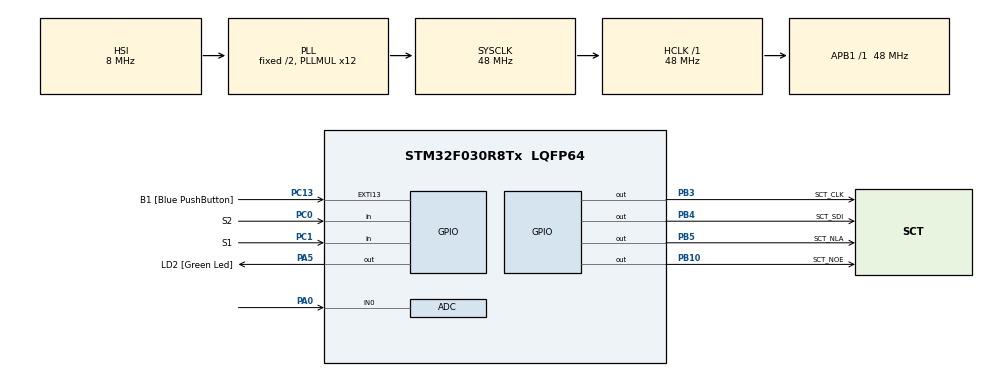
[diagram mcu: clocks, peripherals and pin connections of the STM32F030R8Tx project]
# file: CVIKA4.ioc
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ADC.ContinuousConvMode=ENABLE
ADC.Overrun=ADC_OVR_DATA_OVERWRITTEN
ADC.SamplingTime=ADC_SAMPLETIME_239CYCLES_5
Mcu.Family=STM32F0
Mcu.Name=STM32F030R8Tx
Mcu.Package=LQFP64
NVIC.ADC1_IRQn=true\:0\:0\:false\:false\:true\:true\:true\:true
PA0.Mode=IN0
PA0.Signal=ADC_IN0
PA13.GPIO_Label=TMS
PA13.Signal=SYS_SWDIO
PA14.GPIO_Label=TCK
PA14.Signal=SYS_SWCLK
PA2.GPIO_Label=USART_TX
PA2.GPIO_Mode=GPIO_MODE_AF_PP
PA2.GPIO_PuPd=GPIO_NOPULL
PA2.GPIO_Speed=GPIO_SPEED_FREQ_LOW
PA2.Signal=USART2_TX
PA3.GPIO_Label=USART_RX
PA3.GPIO_Mode=GPIO_MODE_AF_PP
PA3.GPIO_PuPd=GPIO_NOPULL
PA3.GPIO_Speed=GPIO_SPEED_FREQ_LOW
PA3.Signal=USART2_RX
PA5.GPIO_Label=LD2 [Green Led]
PA5.GPIO_Mode=GPIO_MODE_OUTPUT_PP
PA5.GPIO_PuPd=GPIO_NOPULL
PA5.GPIO_Speed=GPIO_SPEED_FREQ_LOW
PA5.Signal=GPIO_Output
PB10.GPIO_Label=SCT_NOE
PB10.Signal=GPIO_Output
PB3.GPIO_Label=SCT_CLK
PB3.Signal=GPIO_Output
PB4.GPIO_Label=SCT_SDI
PB4.Signal=GPIO_Output
PB5.GPIO_Label=SCT_NLA
PB5.Signal=GPIO_Output
PC0.GPIO_Label=S2
PC0.GPIO_PuPd=GPIO_PULLUP
PC0.Signal=GPIO_Input
PC1.GPIO_Label=S1
PC1.GPIO_PuPd=GPIO_PULLUP
PC1.Signal=GPIO_Input
PC13.GPIO_Label=B1 [Blue PushButton]
PC13.GPIO_ModeDefaultEXTI=GPIO_MODE_IT_FALLING
PC13.Signal=GPXTI13
PC14-OSC32_IN.Signal=RCC_OSC32_IN
PC15-OSC32_OUT.Signal=RCC_OSC32_OUT
PF0-OSC_IN.Signal=RCC_OSC_IN
PF1-OSC_OUT.Signal=RCC_OSC_OUT
ProjectManager.HeapSize=0x200
ProjectManager.StackSize=0x400
ProjectManager.TargetToolchain=STM32CubeIDE
RCC.AHBFreq_Value=48000000
RCC.APB1Freq_Value=48000000
RCC.APB1TimFreq_Value=48000000
RCC.HCLKFreq_Value=48000000
RCC.PLLMUL=RCC_PLL_MUL12
RCC.SYSCLKFreq_VALUE=48000000
RCC.SYSCLKSource=RCC_SYSCLKSOURCE_PLLCLK
VP_ADC_TempSens_Input.Mode=IN-TempSens
VP_ADC_Vref_Input.Mode=IN-Vrefint
board=NUCLEO-F030R8

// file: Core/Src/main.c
/* USER CODE BEGIN Header */
/**
 ******************************************************************************
 * @file           : main.c
 * @brief          : Main program body
 ******************************************************************************
 * @attention
 *
 * Copyright (c) 2024 STMicroelectronics.
 * All rights reserved.
 *
 * This software is licensed under terms that can be found in the LICENSE file
 * in the root directory of this software component.
 * If no LICENSE file comes with this software, it is provided AS-IS.
 *
 ******************************************************************************
 */
/* USER CODE END Header */
#include "main.h"

/* USER CODE BEGIN Includes */
#include "sct.h"
/* USER CODE END Includes */

/* USER CODE BEGIN PD */

#define ADC_Q 12
#define TEMP110_CAL_ADDR ((uint16_t*) ((uint32_t) 0x1FFFF7C2))
#define TEMP30_CAL_ADDR ((uint16_t*) ((uint32_t) 0x1FFFF7B8))
#define VREFINT_CAL_ADDR ((uint16_t*) ((uint32_t) 0x1FFFF7BA))

#define BUTTON	40
#define TIME 100

#define SHOW_POT
#define SHOW_VOLT
#define SHOW_TEMP
/* USER CODE END PD */

ADC_HandleTypeDef hadc;

void SystemClock_Config(void);
static void MX_GPIO_Init(void);
static void MX_ADC_Init(void);
/* USER CODE BEGIN PFP */
static volatile uint32_t raw_pot;
static volatile uint32_t value_avg=0;
static uint32_t avg_pot=0;
static uint32_t channel;

static volatile uint32_t raw_temp;
static volatile uint32_t raw_volt;

volatile uint32_t Tick;
static uint32_t off_time;
static uint32_t state = 1;

/* USER CODE END PFP */

/* USER CODE BEGIN 0 */
void HAL_ADC_ConvCpltCallback(ADC_HandleTypeDef* hadc)
{
	if (channel ==0){
		raw_pot = avg_pot >> ADC_Q;
		avg_pot -= raw_pot;
		avg_pot += HAL_ADC_GetValue(hadc);

	}

	else if(channel = 1){
		raw_temp = HAL_ADC_GetValue(hadc);

	}
	else if(channel = 2){
		raw_volt = HAL_ADC_GetValue(hadc);

	}

	if (__HAL_ADC_GET_FLAG(hadc, ADC_FLAG_EOS)) channel = 0;
	else channel++;

}

static void button1(){

	static uint32_t button_tick;

	int32_t temperature = (raw_temp - (int32_t)(*TEMP30_CAL_ADDR));
	temperature = temperature * (int32_t)(110 - 30);
	temperature = temperature / (int32_t)(*TEMP110_CAL_ADDR - *TEMP30_CAL_ADDR);
	temperature = temperature + 30;

	if(Tick > button_tick + TIME){
		button_tick=Tick;
		if (HAL_GPIO_ReadPin(S1_GPIO_Port, S1_Pin)==1) {
			off_time = Tick + TIME;
			sct_value(temperature,0);
			HAL_Delay(1000);
		}

	}
	if (Tick > off_time) {
		sct_value(raw_pot * 500.9/4095,raw_pot*9/4095);

	}
}

static void button2(){

	static uint32_t button_tick;

	uint32_t voltage = 330 * (*VREFINT_CAL_ADDR) / raw_volt;

	if(Tick > button_tick + TIME){
		button_tick=Tick;

		if (HAL_GPIO_ReadPin(S2_GPIO_Port, S2_Pin)==1) {
			off_time = Tick + TIME;
			sct_value(voltage,0);
			HAL_Delay(1000);
		}

	}
	if (Tick > off_time) {
		sct_value(raw_pot * 500.9/4095,raw_pot*9/4095);

	}
}
/* USER CODE END 0 */

int main(void)
{

	/* MCU Configuration--------------------------------------------------------*/

	/* Reset of all peripherals, Initializes the Flash interface and the Systick. */
	HAL_Init();

	/* Configure the system clock */
	SystemClock_Config();

	/* Initialize all configured peripherals */
	MX_GPIO_Init();
	MX_ADC_Init();
	/* USER CODE BEGIN 2 */
	sct_init();
	HAL_ADCEx_Calibration_Start(&hadc);
	HAL_ADC_Start_IT(&hadc);

	/* USER CODE END 2 */

	/* Infinite loop */
	/* USER CODE BEGIN WHILE */
	while (1)
	{

		switch(state) {
			case 1:
				sct_value(raw_pot * 500.9/4095,raw_pot*9/4095);
				HAL_Delay(10000);
			break;

			case 2:

				button1();
				HAL_Delay(10000);
					break;

			case 3:
				button2();
				HAL_Delay(10000);
			break;

		}

		/* USER CODE END WHILE */

	}
}

void SystemClock_Config(void)
{
	RCC_OscInitTypeDef RCC_OscInitStruct = {0};
	RCC_ClkInitTypeDef RCC_ClkInitStruct = {0};

	/** Initializes the RCC Oscillators according to the specified parameters
	 * in the RCC_OscInitTypeDef structure.
	 */
	RCC_OscInitStruct.OscillatorType = RCC_OSCILLATORTYPE_HSI|RCC_OSCILLATORTYPE_HSI14;
	RCC_OscInitStruct.HSIState = RCC_HSI_ON;
	RCC_OscInitStruct.HSI14State = RCC_HSI14_ON;
	RCC_OscInitStruct.HSICalibrationValue = RCC_HSICALIBRATION_DEFAULT;
	RCC_OscInitStruct.HSI14CalibrationValue = 16;
	RCC_OscInitStruct.PLL.PLLState = RCC_PLL_ON;
	RCC_OscInitStruct.PLL.PLLSource = RCC_PLLSOURCE_HSI;
	RCC_OscInitStruct.PLL.PLLMUL = RCC_PLL_MUL12;
	RCC_OscInitStruct.PLL.PREDIV = RCC_PREDIV_DIV1;
	if (HAL_RCC_OscConfig(&RCC_OscInitStruct) != HAL_OK)
	{
		Error_Handler();
	}

	/** Initializes the CPU, AHB and APB buses clocks
	 */
	RCC_ClkInitStruct.ClockType = RCC_CLOCKTYPE_HCLK|RCC_CLOCKTYPE_SYSCLK
			|RCC_CLOCKTYPE_PCLK1;
	RCC_ClkInitStruct.SYSCLKSource = RCC_SYSCLKSOURCE_PLLCLK;
	RCC_ClkInitStruct.AHBCLKDivider = RCC_SYSCLK_DIV1;
	RCC_ClkInitStruct.APB1CLKDivider = RCC_HCLK_DIV1;

	if (HAL_RCC_ClockConfig(&RCC_ClkInitStruct, FLASH_LATENCY_1) != HAL_OK)
	{
		Error_Handler();
	}
}

static void MX_ADC_Init(void)
{

	ADC_ChannelConfTypeDef sConfig = {0};

	/** Configure the global features of the ADC (Clock, Resolution, Data Alignment and number of conversion)
	 */
	hadc.Instance = ADC1;
	hadc.Init.ClockPrescaler = ADC_CLOCK_ASYNC_DIV1;
	hadc.Init.Resolution = ADC_RESOLUTION_12B;
	hadc.Init.DataAlign = ADC_DATAALIGN_RIGHT;
	hadc.Init.ScanConvMode = ADC_SCAN_DIRECTION_FORWARD;
	hadc.Init.EOCSelection = ADC_EOC_SINGLE_CONV;
	hadc.Init.LowPowerAutoWait = DISABLE;
	hadc.Init.LowPowerAutoPowerOff = DISABLE;
	hadc.Init.ContinuousConvMode = ENABLE;
	hadc.Init.DiscontinuousConvMode = DISABLE;
	hadc.Init.ExternalTrigConv = ADC_SOFTWARE_START;
	hadc.Init.ExternalTrigConvEdge = ADC_EXTERNALTRIGCONVEDGE_NONE;
	hadc.Init.DMAContinuousRequests = DISABLE;
	hadc.Init.Overrun = ADC_OVR_DATA_OVERWRITTEN;
	if (HAL_ADC_Init(&hadc) != HAL_OK)
	{
		Error_Handler();
	}

	/** Configure for the selected ADC regular channel to be converted.
	 */
	sConfig.Channel = ADC_CHANNEL_0;
	sConfig.Rank = ADC_RANK_CHANNEL_NUMBER;
	sConfig.SamplingTime = ADC_SAMPLETIME_239CYCLES_5;
	if (HAL_ADC_ConfigChannel(&hadc, &sConfig) != HAL_OK)
	{
		Error_Handler();
	}

	/** Configure for the selected ADC regular channel to be converted.
	 */
	sConfig.Channel = ADC_CHANNEL_TEMPSENSOR;
	if (HAL_ADC_ConfigChannel(&hadc, &sConfig) != HAL_OK)
	{
		Error_Handler();
	}

	/** Configure for the selected ADC regular channel to be converted.
	 */
	sConfig.Channel = ADC_CHANNEL_VREFINT;
	if (HAL_ADC_ConfigChannel(&hadc, &sConfig) != HAL_OK)
	{
		Error_Handler();
	}

}

static void MX_GPIO_Init(void)
{
	GPIO_InitTypeDef GPIO_InitStruct = {0};

	/* GPIO Ports Clock Enable */
	__HAL_RCC_GPIOC_CLK_ENABLE();
	__HAL_RCC_GPIOF_CLK_ENABLE();
	__HAL_RCC_GPIOA_CLK_ENABLE();
	__HAL_RCC_GPIOB_CLK_ENABLE();

	/*Configure GPIO pin Output Level */
	HAL_GPIO_WritePin(LD2_GPIO_Port, LD2_Pin, GPIO_PIN_RESET);

	/*Configure GPIO pin Output Level */
	HAL_GPIO_WritePin(GPIOB, SCT_NOE_Pin|SCT_CLK_Pin|SCT_SDI_Pin|SCT_NLA_Pin, GPIO_PIN_RESET);

	/*Configure GPIO pin : B1_Pin */
	GPIO_InitStruct.Pin = B1_Pin;
	GPIO_InitStruct.Mode = GPIO_MODE_IT_FALLING;
	GPIO_InitStruct.Pull = GPIO_NOPULL;
	HAL_GPIO_Init(B1_GPIO_Port, &GPIO_InitStruct);

	/*Configure GPIO pins : S2_Pin S1_Pin */
	GPIO_InitStruct.Pin = S2_Pin|S1_Pin;
	GPIO_InitStruct.Mode = GPIO_MODE_INPUT;
	GPIO_InitStruct.Pull = GPIO_PULLUP;
	HAL_GPIO_Init(GPIOC, &GPIO_InitStruct);

	/*Configure GPIO pins : USART_TX_Pin USART_RX_Pin */
	GPIO_InitStruct.Pin = USART_TX_Pin|USART_RX_Pin;
	GPIO_InitStruct.Mode = GPIO_MODE_AF_PP;
	GPIO_InitStruct.Pull = GPIO_NOPULL;
	GPIO_InitStruct.Speed = GPIO_SPEED_FREQ_LOW;
	GPIO_InitStruct.Alternate = GPIO_AF1_USART2;
	HAL_GPIO_Init(GPIOA, &GPIO_InitStruct);

	/*Configure GPIO pin : LD2_Pin */
	GPIO_InitStruct.Pin = LD2_Pin;
	GPIO_InitStruct.Mode = GPIO_MODE_OUTPUT_PP;
	GPIO_InitStruct.Pull = GPIO_NOPULL;
	GPIO_InitStruct.Speed = GPIO_SPEED_FREQ_LOW;
	HAL_GPIO_Init(LD2_GPIO_Port, &GPIO_InitStruct);

	/*Configure GPIO pins : SCT_NOE_Pin SCT_CLK_Pin SCT_SDI_Pin SCT_NLA_Pin */
	GPIO_InitStruct.Pin = SCT_NOE_Pin|SCT_CLK_Pin|SCT_SDI_Pin|SCT_NLA_Pin;
	GPIO_InitStruct.Mode = GPIO_MODE_OUTPUT_PP;
	GPIO_InitStruct.Pull = GPIO_NOPULL;
	GPIO_InitStruct.Speed = GPIO_SPEED_FREQ_LOW;
	HAL_GPIO_Init(GPIOB, &GPIO_InitStruct);

}

void Error_Handler(void)
{
	__disable_irq();
	while (1)
	{
	}
}
